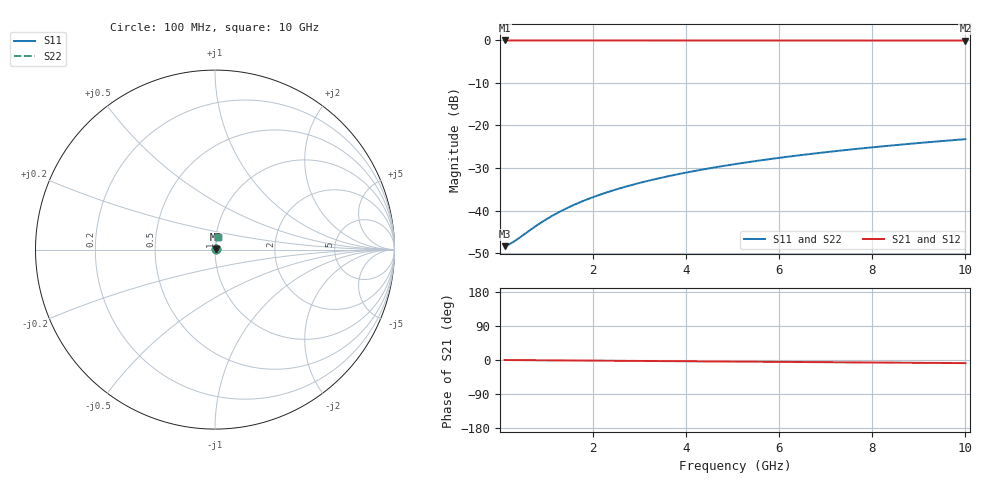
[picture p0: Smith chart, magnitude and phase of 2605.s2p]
# Hz S RI R 50.00
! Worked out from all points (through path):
!   100 points, 100 MHz to 10 GHz, reference 50 ohm
!   highest |S21| = -0.03 dB at 100 MHz (marker M1); lowest = -0.1 dB at 10 GHz (marker M2)
!   group delay of S21, straight-line fit = 2.29 ps
!   lowest |S11| = -48.3 dB at 100 MHz (marker M3), VSWR 1.01, Z = 50.4 + j0.0693 ohm
!   |S11| at or under -10 dB: start of sweep to end of sweep
!   |S22| runs from -48.3 to -23.2 dB; largest |S21 - S12| = 0
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1e8  0.00377 0.000688  0.9962 -0.00143  0.9962 -0.00143  0.00377 0.000688
2e8  0.00379 0.00138  0.9962 -0.00287  0.9962 -0.00287  0.00379 0.00138
3e8  0.00382 0.00206  0.9962 -0.0043  0.9962 -0.0043  0.00382 0.00206
8e8  0.00393 0.0055  0.996 -0.0115  0.996 -0.0115  0.00393 0.0055
9e8  0.00395 0.00619  0.996 -0.0129  0.996 -0.0129  0.00395 0.00619
1.1e9  0.00401 0.00756  0.9959 -0.0158  0.9959 -0.0158  0.00401 0.00756
1.4e9  0.0041 0.00962  0.9958 -0.0201  0.9958 -0.0201  0.0041 0.00962
1.6e9  0.00417 0.011  0.9957 -0.0229  0.9957 -0.0229  0.00417 0.011
1.8e9  0.00425 0.0124  0.9956 -0.0258  0.9956 -0.0258  0.00425 0.0124
2.1e9  0.00438 0.0144  0.9955 -0.0301  0.9955 -0.0301  0.00438 0.0144
2.5e9  0.00458 0.0172  0.9952 -0.0358  0.9952 -0.0358  0.00458 0.0172
2.9e9  0.00481 0.0199  0.9949 -0.0416  0.9949 -0.0416  0.00481 0.0199
3.4e9  0.00514 0.0233  0.9945 -0.0487  0.9945 -0.0487  0.00514 0.0233
3.8e9  0.00544 0.0261  0.9941 -0.0545  0.9941 -0.0545  0.00544 0.0261
4.2e9  0.00577 0.0288  0.9937 -0.0602  0.9937 -0.0602  0.00577 0.0288
4.6e9  0.00613 0.0315  0.9932 -0.0659  0.9932 -0.0659  0.00613 0.0315
5.1e9  0.00663 0.0349  0.9926 -0.073  0.9926 -0.073  0.00663 0.0349
5.9e9  0.00752 0.0403  0.9915 -0.0844  0.9915 -0.0844  0.00752 0.0403
6.7e9  0.00853 0.0457  0.9902 -0.0958  0.9902 -0.0958  0.00853 0.0457
7.5e9  0.00967 0.0511  0.9887 -0.1072  0.9887 -0.1072  0.00967 0.0511
8.4e9  0.0111 0.0571  0.9869 -0.1199  0.9869 -0.1199  0.0111 0.0571
1e10  0.014 0.0677  0.9831 -0.1425  0.9831 -0.1425  0.014 0.0677
